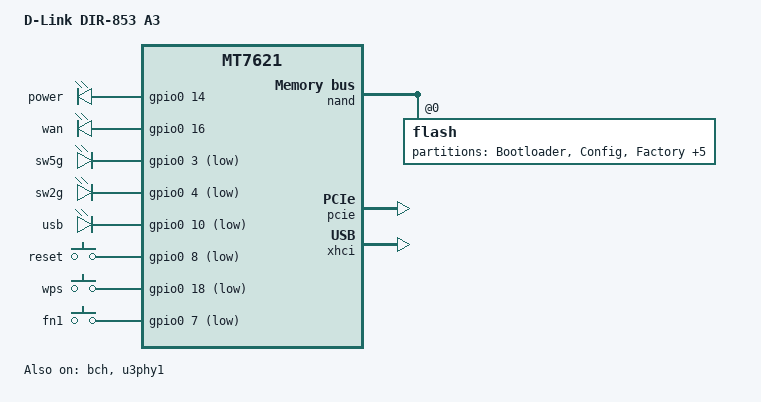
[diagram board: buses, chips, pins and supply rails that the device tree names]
/dts-v1/;

#include "mt7621.dtsi"
#include <dt-bindings/input/input.h>
#include "mt7621-raeth-gmac2.dtsi"
#include "mt7621-pinctrl-default-gpio.dtsi"

/ {
	compatible = "mediatek,mt7621-soc";
	model = "D-Link DIR-853 A3";

	chosen {
		bootargs = "console=ttyS0,57600";
	};

	leds {
		compatible = "gpio-leds";

		sys_blue {
			label = "power";
			gpios = <&gpio0 14 GPIO_ACTIVE_HIGH>;
		};

		wan {
			label = "wan";
			gpios = <&gpio0 16 GPIO_ACTIVE_HIGH>;
		};
    
		wlan5g {
			label = "sw5g";
			gpios = <&gpio0 3 GPIO_ACTIVE_LOW>;
			linux,default-trigger = "phy1radio";
		};

		wlan2g {
			label = "sw2g";
			gpios = <&gpio0 4 GPIO_ACTIVE_LOW>;
			linux,default-trigger = "phy0radio";
		};

		usb {
			label = "usb";
			gpios = <&gpio0 10 GPIO_ACTIVE_LOW>;
			linux,default-trigger = "usbport";
		};
	};
	
	gpio-keys-polled {
		compatible = "gpio-keys-polled";
		#address-cells = <1>;
		#size-cells = <0>;
		poll-interval = <20>;

		reset {
			label = "reset";
			gpios = <&gpio0 8 GPIO_ACTIVE_LOW>;
			linux,code = <KEY_RESTART>;
		};
		
		wps {
			label = "wps";
			gpios = <&gpio0 18 GPIO_ACTIVE_LOW>;
			linux,code = <KEY_WPS_BUTTON>;
		};

		fn1 { /* wlan */
			label = "fn1";
			gpios = <&gpio0 7 GPIO_ACTIVE_LOW>;
			linux,code = <KEY_FN_1>;
		};
	};
};

&bch {
	status = "okay";
};

&nand {
	status = "okay";

	flash@0 {
		reg = <0>;
		nand-ecc-mode = "hw";
		partitions {
			compatible = "fixed-partitions";
			#address-cells = <1>;
			#size-cells = <1>;

			partition@0 {
				label = "Bootloader";
				reg = <0x0 0x80000>; /* 512k */
			};
						
			partition@80000 {
				label = "Config";
				reg = <0x80000 0x80000>; /* 512k */
			};

			partition@100000 {
				label = "Factory";
				reg = <0x100000 0x40000>; /* 256k */
			};

			partition@140000 {
				label = "config2";
				reg = <0x140000 0x40000>; /* 256k */
			};

			partition@180000 {
				label = "firmware";
				reg = <0x180000 0x1800000>; /* 24M */
			};

				partition@1980000 {
				label = "Storage";
				reg = <0x1980000 0x1000000>; /* 4096K */
			};
			
			partition@2980000 {
				label = "RWFS";
				reg = <0x2980000 0x2000000>; /* 4096K */
			};

			partition@all {
				label = "ALL";
				reg = <0x0 0x7f80000>;
			};
		};
	};
};

&pcie {
	status = "okay";
};

&xhci {
	status = "okay";
};

&u3phy1 {
	status = "okay";
};
